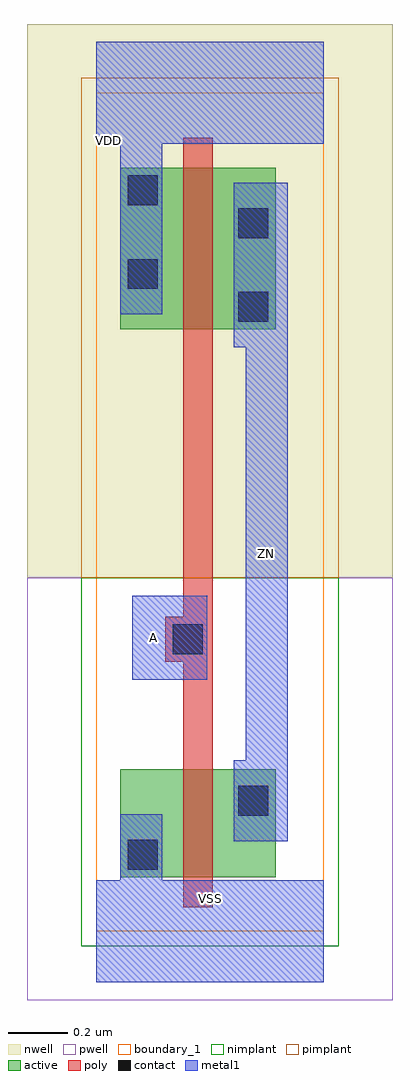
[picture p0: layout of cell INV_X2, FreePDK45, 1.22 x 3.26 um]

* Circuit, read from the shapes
.subckt INV_X2 A VDD VSS ZN
M1 ZN A VSS VSUBS nfet w=0.36u l=0.1u
M2 ZN A VDD n1 pfet w=0.54u l=0.1u
.ends

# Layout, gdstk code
import gdstk
lib = gdstk.Library(unit=1e-6, precision=1e-09)
def R(c, l, rs):  # rectangles x0, y0, x1, y1
    for r in rs: c.add(gdstk.rectangle(r[:2], r[2:], *l))
def P(c, l, *ps):  # polygons
    for p in ps: c.add(gdstk.Polygon(p, *l))
active = (1, 0)
pwell = (2, 0)
nwell = (3, 0)
nimplant = (4, 0)
pimplant = (5, 0)
poly = (9, 0)
contact = (10, 0)
metal1 = (11, 0)
boundary_1 = (235, 1)

inv_x2 = lib.new_cell('INV_X2')
R(inv_x2, active, [(0.08,0.18,0.6,0.54), (0.08,2.01,0.6,2.55)])
R(inv_x2, pwell, [(-0.23,-0.23,0.99,1.18)])
R(inv_x2, nwell, [(-0.23,1.18,0.99,3.03)])
R(inv_x2, nimplant, [(-0.05,-0.05,0.81,1.18)])
R(inv_x2, pimplant, [(-0.05,1.18,0.81,2.85)])
P(inv_x2, poly, [(0.23,0.9),(0.29,0.9),(0.29,0.08),(0.39,0.08),(0.39,2.65),(0.29,2.65),(0.29,1.05),(0.23,1.05)])
R(inv_x2, contact, [(0.105,0.205,0.205,0.305), (0.475,0.385,0.575,0.485), (0.255,0.925,0.355,1.025), (0.475,2.035,0.575,2.135), (0.105,2.145,0.205,2.245), (0.475,2.315,0.575,2.415), (0.105,2.425,0.205,2.525)])
R(inv_x2, metal1, [(0.12,0.84,0.37,1.12), (0.12,0.84,0.37,1.12)])
P(inv_x2, metal1, [(0.46,1.95),(0.5,1.95),(0.5,0.57),(0.46,0.57),(0.46,0.3),(0.64,0.3),(0.64,2.5),(0.46,2.5)],
  [(0,-0.17),(0.76,-0.17),(0.76,0.17),(0.22,0.17),(0.22,0.39),(0.08,0.39),(0.08,0.17),(0,0.17)],
  [(0,2.63),(0.08,2.63),(0.08,2.06),(0.22,2.06),(0.22,2.63),(0.76,2.63),(0.76,2.97),(0,2.97)],
  [(0,2.63),(0.08,2.63),(0.08,2.06),(0.22,2.06),(0.22,2.63),(0.76,2.63),(0.76,2.97),(0,2.97)],
  [(0,-0.17),(0.76,-0.17),(0.76,0.17),(0.22,0.17),(0.22,0.39),(0.08,0.39),(0.08,0.17),(0,0.17)],
  [(0.46,1.95),(0.5,1.95),(0.5,0.57),(0.46,0.57),(0.46,0.3),(0.64,0.3),(0.64,2.5),(0.46,2.5)])
R(inv_x2, boundary_1, [(0,0,0.76,2.8)])
inv_x2.add(gdstk.Label('ZN', (0.57,1.26), layer=11, texttype=0))
inv_x2.add(gdstk.Label('VSS', (0.38,0.11), layer=11, texttype=0))
inv_x2.add(gdstk.Label('VDD', (0.04,2.64), layer=11, texttype=0))
inv_x2.add(gdstk.Label('A', (0.19,0.98), layer=11, texttype=0))

lib.write_gds('INV_X2.gds')
